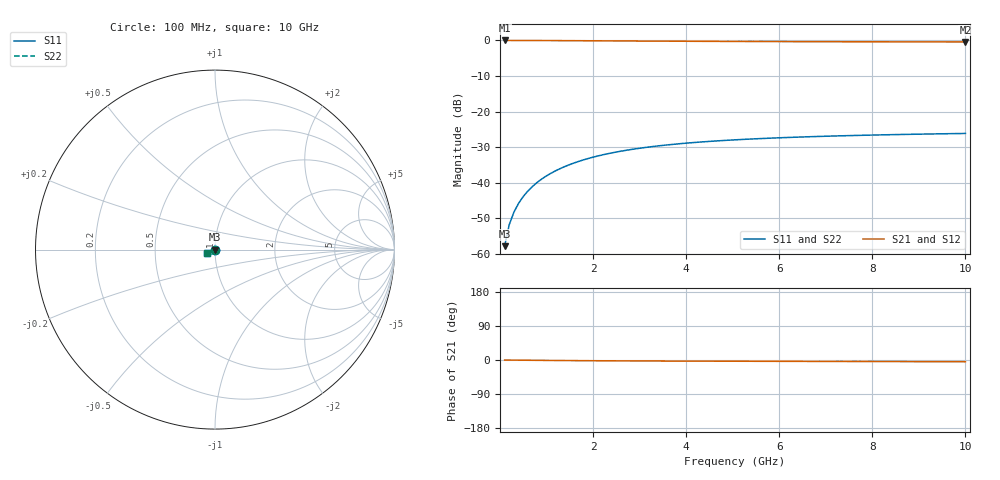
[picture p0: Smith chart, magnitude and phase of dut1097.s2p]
! Touchstone file exported from HFSS 2024.1.0
!  File:  C:/UserFiles/LocalFiles/RDL_TSV_Batchsim/temp_TSV1_1097_1780066885.aedt
!  Generated:  11:05:57 PM May 29, 2026
!  Design:  TSV1
!  Project:  temp_TSV1_1097_1780066885
!  Setup:  Setup1
!  Solution:  Sweep
! Variables:
!  dtsv = 11.4um
!  hbump = 3um
!  htsv = 70.13um
!  lrdl = 252.1521522um
!  p = 40
!  p1 = 41.94um
!  t = 500um
!  trdl = 3um
!  wrdl = 24.89489489um
# GHz S MA R 50.000000
! Terminal data exported
! Port[1] = TSV22_T1
! Port[2] = TSV22_T2
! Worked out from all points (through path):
!   100 points, 100 MHz to 10 GHz, reference 50 ohm
!   highest |S21| = 0.00 dB at 100 MHz (marker M1); lowest = -0.4 dB at 10 GHz (marker M2)
!   lowest |S11| = -57.8 dB at 100 MHz (marker M3), VSWR 1.00, Z = 50 - j0.128 ohm
!   |S11| at or under -10 dB: start of sweep to end of sweep
!   |S22| runs from -57.8 to -26.2 dB; largest |S21 - S12| = 4e-15
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0.1  0.001281 -86.8  0.9999 -0.1  0.9999 -0.1  0.001281 -86.8
! Gamma 0 0 0 0
! Port Impedance 50 0 50 0
0.2  0.00257 -90.8  0.9997 -0.2  0.9997 -0.2  0.00257 -90.8
0.3  0.003852 -93.0  0.9996 -0.3  0.9996 -0.3  0.003852 -93.0
0.4  0.005126 -94.9  0.9993 -0.4  0.9993 -0.4  0.005126 -94.9
0.5  0.00639 -96.6  0.999 -0.6  0.999 -0.6  0.00639 -96.6
0.6  0.00764 -98.2  0.9986 -0.7  0.9986 -0.7  0.00764 -98.2
0.7  0.008875 -99.8  0.9982 -0.8  0.9982 -0.8  0.008875 -99.8
0.8  0.01009 -101.3  0.9977 -0.9  0.9977 -0.9  0.01009 -101.3
0.9  0.01129 -102.8  0.9972 -1.0  0.9972 -1.0  0.01129 -102.8
1.1  0.01362 -105.6  0.996 -1.2  0.996 -1.2  0.01362 -105.6
1.4  0.01694 -109.8  0.9939 -1.4  0.9939 -1.4  0.01694 -109.8
1.6  0.01902 -112.4  0.9924 -1.6  0.9924 -1.6  0.01902 -112.4
1.8  0.02098 -114.9  0.9908 -1.7  0.9908 -1.7  0.02098 -114.9
2.1  0.02372 -118.4  0.9884 -2.0  0.9884 -2.0  0.02372 -118.4
2.5  0.02699 -122.8  0.9852 -2.2  0.9852 -2.2  0.02699 -122.8
2.9  0.02985 -126.7  0.982 -2.4  0.982 -2.4  0.02985 -126.7
3.4  0.03291 -131.1  0.9783 -2.7  0.9783 -2.7  0.03291 -131.1
4.2  0.03685 -137.0  0.973 -3.0  0.973 -3.0  0.03685 -137.0
5.1  0.04021 -142.5  0.968 -3.3  0.968 -3.3  0.04021 -142.5
6.7  0.04439 -150.0  0.9613 -3.7  0.9613 -3.7  0.04439 -150.0
8.4  0.04733 -155.9  0.9565 -4.2  0.9565 -4.2  0.04733 -155.9
10  0.04924 -160.4  0.9532 -4.6  0.9532 -4.6  0.04923 -160.4
